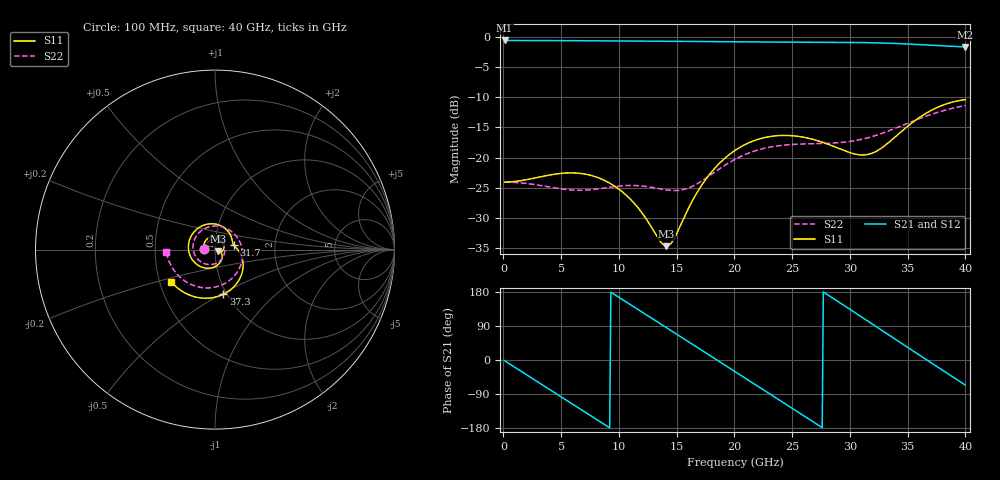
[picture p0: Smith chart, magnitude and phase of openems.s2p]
! X_s8x4_L1L3_bd_d200: L1→L3 back-drilled, drill Ø0.2, L4 plane removed: L3 exits inside the thick L2–L5 pair
! stackup: 8-layer 1.6 mm FR-4 without the L4 plane
! ports: 1, 2
! openEMS 0.37.0, staircase, fine mesh (dfine 0.0175 mm), 1274115 cells
# Hz S RI R 50
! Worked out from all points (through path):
!   400 points, 100 MHz to 40 GHz, reference 50 ohm
!   highest |S21| = -0.56 dB at 100 MHz (marker M1); lowest = -1.6 dB at 40 GHz (marker M2)
!   group delay of S21, straight-line fit = 54.5 ps
!   lowest |S11| = -34.7 dB at 14.1 GHz (marker M3), VSWR 1.04, Z = 51.6 - j0.989 ohm
!   |S11| at or under -10 dB: start of sweep to end of sweep
!   |S22| runs from -25.5 to -11.3 dB; largest |S21 - S12| = 0.0029
!   S11 on the Smith chart (normalised r, x): 100 MHz: 0.88, +0.00; 31.7 GHz: 1.23, +0.06; 37.3 GHz: 0.96, -0.51; 40 GHz: 0.58, -0.23
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1e8  -0.0626 0.000869  0.9367 -0.0319  0.9367 -0.0319  -0.0626 0.000714
1.8e9  -0.0627 0.0173  0.767 -0.538  0.767 -0.538  -0.06 0.0124
3.7e9  -0.0566 0.0427  0.2886 -0.8903  0.2886 -0.8903  -0.0532 0.0221
5.2e9  -0.0377 0.064  -0.1821 -0.9166  -0.1822 -0.9166  -0.0477 0.0268
6.8e9  -0.00174 0.0736  -0.6285 -0.689  -0.6285 -0.6889  -0.0435 0.0313
8.4e9  0.036 0.0565  -0.8919 -0.2646  -0.8918 -0.2644  -0.0392 0.0391
9.9e9  0.0512 0.0215  -0.9058 0.2028  -0.9055 0.2028  -0.0297 0.0497
1.18e10  0.0345 -0.013  -0.601 0.7046  -0.6008 0.7042  -0.00297 0.0583
1.34e10  0.0165 -0.0136  -0.1501 0.9125  -0.1502 0.912  0.0284 0.0476
1.41e10  0.0157 -0.00959  0.0693 0.9216  0.069 0.9212  0.0407 0.0354
1.73e10  0.0391 -0.0477  0.8453 0.3628  0.8451 0.363  0.0358 -0.0545
2.01e10  -0.0521 -0.103  0.7798 -0.4765  0.7796 -0.4764  -0.0568 -0.079
2.18e10  -0.129 -0.0526  0.3908 -0.8228  0.3905 -0.8225  -0.1068 -0.0396
2.33e10  -0.1465 0.035  -0.0618 -0.9072  -0.0619 -0.9065  -0.1224 0.0151
2.49e10  -0.0967 0.1175  -0.5244 -0.7416  -0.524 -0.7408  -0.1053 0.0734
2.67e10  0.00114 0.1425  -0.8564 -0.2997  -0.8552 -0.2992  -0.0524 0.1192
2.9e10  0.0843 0.0846  -0.8114 0.4009  -0.8102 0.3995  0.0452 0.125
3.17e10  0.1042 0.0246  -0.152 0.8854  -0.1535 0.8841  0.145 0.0257
3.34e10  0.1341 -0.00984  0.3683 0.8094  0.3669 0.81  0.1435 -0.0859
3.54e10  0.153 -0.1209  0.7884 0.3726  0.7888 0.373  0.0411 -0.1956
3.73e10  0.0459 -0.2495  0.8312 -0.1868  0.8306 -0.1878  -0.1174 -0.2007
4e10  -0.2437 -0.1793  0.332 -0.7586  0.33 -0.7565  -0.2705 -0.0154
